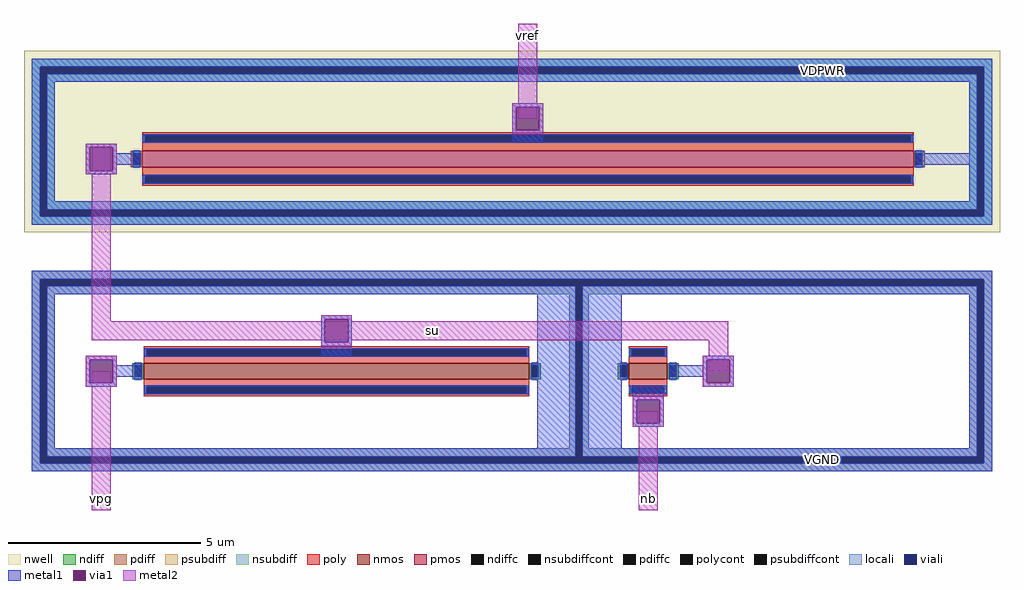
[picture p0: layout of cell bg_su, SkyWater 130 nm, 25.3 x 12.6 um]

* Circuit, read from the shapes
.subckt bg_su vpg nb vref su VDPWR VGND
XM1 VGND su vpg VGND sky130_fd_pr__nfet_01v8 w=0.42 l=10
XM2 su nb VGND VGND sky130_fd_pr__nfet_01v8 w=0.42 l=1
XM3 VDPWR vref su VDPWR sky130_fd_pr__pfet_01v8 w=0.42 l=20
.ends

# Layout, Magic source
magic
tech sky130A
magscale 1 2
<< metal1 >>
rect 4000 2020 4200 2140
rect 4000 0 4200 120
<< metal2 >>
rect 2522 1829 2622 2320
rect 310 779 410 1700
rect 310 679 3610 779
rect 3510 520 3610 679
rect 310 -200 410 520
rect 3146 -200 3246 311
use bg_su_arr  bg_su_arr_0
transform 1 0 0 0 1 0
box -40 0 5020 2180
<< labels >>
rlabel metal2 310 -200 410 -80 0 vpg
port 1 nsew
rlabel metal2 3146 -200 3246 -80 0 nb
port 2 nsew
rlabel metal2 2522 2200 2622 2320 0 vref
port 3 nsew
rlabel metal2 2000 679 2160 779 0 su
port 4 nsew
rlabel metal1 4020 2040 4180 2120 0 VDPWR
port 5 nsew
rlabel metal1 4020 20 4180 100 0 VGND
port 6 nsew
<< end >>

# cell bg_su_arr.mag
magic
tech sky130A
magscale 1 2
<< nwell >>
rect -40 1240 5020 2180
<< psubdiff >>
rect 0 997 4980 1040
rect 0 43 43 997
rect 77 920 2821 963
rect 77 120 120 920
rect 2788 120 2821 920
rect 77 77 2821 120
rect 2855 920 4903 963
rect 2855 120 2888 920
rect 4860 120 4903 920
rect 2855 77 4903 120
rect 4937 43 4980 997
rect 0 0 4980 43
<< nsubdiff >>
rect 0 2097 4980 2140
rect 0 1323 43 2097
rect 77 2020 4903 2063
rect 77 1400 120 2020
rect 4860 1400 4903 2020
rect 77 1357 4903 1400
rect 4937 1323 4980 2097
rect 0 1280 4980 1323
<< psubdiffcont >>
rect 43 963 4937 997
rect 43 77 77 963
rect 2821 77 2855 963
rect 4903 77 4937 963
rect 43 43 4937 77
<< nsubdiffcont >>
rect 43 2063 4937 2097
rect 43 1357 77 2063
rect 4903 1357 4937 2063
rect 43 1323 4937 1357
<< locali >>
rect 0 2097 4980 2140
rect 0 1323 43 2097
rect 77 2020 4903 2063
rect 77 1400 120 2020
rect 4860 1400 4903 2020
rect 77 1357 4903 1400
rect 4937 1323 4980 2097
rect 0 1280 4980 1323
rect 0 997 4980 1040
rect 0 43 43 997
rect 77 920 2821 963
rect 77 120 120 920
rect 2788 120 2821 920
rect 77 77 2821 120
rect 2855 920 4903 963
rect 2855 120 2888 920
rect 4860 120 4903 920
rect 2855 77 4903 120
rect 4937 43 4980 997
rect 0 0 4980 43
<< viali >>
rect 43 2063 4937 2097
rect 43 1357 77 2063
rect 4903 1357 4937 2063
rect 43 1323 4937 1357
rect 43 963 4937 997
rect 43 77 77 963
rect 2821 77 2855 963
rect 4903 77 4937 963
rect 43 43 4937 77
<< metal1 >>
rect 0 2097 4980 2140
rect 0 1323 43 2097
rect 77 2020 4903 2063
rect 77 1400 120 2020
rect 2492 1889 2652 1909
rect 2492 1769 2512 1889
rect 2632 1769 2652 1889
rect 2492 1703 2652 1769
rect 280 1680 440 1700
rect 280 1560 300 1680
rect 420 1650 440 1680
rect 4860 1650 4903 2020
rect 420 1590 566 1650
rect 4578 1590 4903 1650
rect 420 1560 440 1590
rect 280 1540 440 1560
rect 4860 1400 4903 1590
rect 77 1357 4903 1400
rect 4937 1323 4980 2097
rect 0 1280 4980 1323
rect 0 997 4980 1040
rect 0 43 43 997
rect 77 920 2821 963
rect 77 120 120 920
rect 1500 789 1660 809
rect 1500 669 1520 789
rect 1640 669 1660 789
rect 1500 603 1660 669
rect 280 580 440 600
rect 280 460 300 580
rect 420 550 440 580
rect 420 490 574 550
rect 420 460 440 490
rect 280 440 440 460
rect 2620 120 2821 920
rect 77 77 2821 120
rect 2855 920 4903 963
rect 2855 120 3060 920
rect 3480 580 3640 600
rect 3480 550 3500 580
rect 3302 490 3500 550
rect 3480 460 3500 490
rect 3620 460 3640 580
rect 3480 440 3640 460
rect 3116 371 3276 437
rect 3116 251 3136 371
rect 3256 251 3276 371
rect 3116 231 3276 251
rect 4860 120 4903 920
rect 2855 77 4903 120
rect 4937 43 4980 997
rect 0 0 4980 43
<< via1 >>
rect 2512 1769 2632 1889
rect 300 1560 420 1680
rect 1520 669 1640 789
rect 300 460 420 580
rect 3500 460 3620 580
rect 3136 251 3256 371
<< metal2 >>
rect 2492 1889 2652 1909
rect 2492 1769 2512 1889
rect 2632 1769 2652 1889
rect 2492 1749 2652 1769
rect 280 1680 440 1700
rect 280 1560 300 1680
rect 420 1560 440 1680
rect 280 1540 440 1560
rect 1500 789 1660 809
rect 1500 669 1520 789
rect 1640 669 1660 789
rect 1500 649 1660 669
rect 280 580 440 600
rect 280 460 300 580
rect 420 460 440 580
rect 280 440 440 460
rect 3480 580 3640 600
rect 3480 460 3500 580
rect 3620 460 3640 580
rect 3480 440 3640 460
rect 3116 371 3276 391
rect 3116 251 3136 371
rect 3256 251 3276 371
rect 3116 231 3276 251
use sky130_fd_pr__pfet_01v8_5QHMTN  MSU1
transform 1 0 2572 0 1 1620
box -2094 -142 2094 142
use sky130_fd_pr__nfet_01v8_8KCPDG  MSU2
transform 1 0 1580 0 1 520
box -1058 -130 1058 130
use sky130_fd_pr__nfet_01v8_RSB7T4  MSU3
transform -1 0 3196 0 1 520
box -158 -130 158 130
<< end >>

# cell sky130_fd_pr__pfet_01v8_5QHMTN: kit device sky130_fd_pr__pfet_01v8, w 0.42 l 20 m 1 nf 1 diffcov 100 polycov 100 guard 0 glc 1 grc 1 gtc 1 gbc 1 tbcov 100 rlcov 100 topc 1 botc 1 poverlap 0 doverlap 1 lmin 0.15 wmin 0.42 class mosfet compatible {sky130_fd_pr__pfet_01v8 sky130_fd_pr__pfet_01v8_lvt sky130_fd_pr__pfet_01v8_hvt sky130_fd_pr__pfet_g5v0d10v5} full_metal 1 conn_gates 0 viasrc 100 viadrn 100 viagate 100 viagb 0 viagr 0 viagl 0 viagt 0 doports 1

# cell sky130_fd_pr__nfet_01v8_8KCPDG: kit device sky130_fd_pr__nfet_01v8, w 0.42 l 10 m 1 nf 1 diffcov 100 polycov 100 guard 0 glc 1 grc 1 gtc 1 gbc 1 tbcov 100 rlcov 100 topc 1 botc 1 poverlap 0 doverlap 1 lmin 0.15 wmin 0.42 class mosfet compatible {sky130_fd_pr__nfet_01v8 sky130_fd_pr__nfet_01v8_lvt sky130_fd_bs_flash__special_sonosfet_star sky130_fd_pr__nfet_g5v0d10v5 sky130_fd_pr__nfet_05v0_nvt sky130_fd_pr__nfet_03v3_nvt} full_metal 1 conn_gates 0 viasrc 100 viadrn 100 viagate 100 viagb 0 viagr 0 viagl 0 viagt 0 doports 1

# cell sky130_fd_pr__nfet_01v8_RSB7T4: kit device sky130_fd_pr__nfet_01v8, w 0.42 l 1 m 1 nf 1 diffcov 100 polycov 100 guard 0 glc 1 grc 1 gtc 1 gbc 1 tbcov 100 rlcov 100 topc 1 botc 1 poverlap 0 doverlap 1 lmin 0.15 wmin 0.42 class mosfet compatible {sky130_fd_pr__nfet_01v8 sky130_fd_pr__nfet_01v8_lvt sky130_fd_bs_flash__special_sonosfet_star sky130_fd_pr__nfet_g5v0d10v5 sky130_fd_pr__nfet_05v0_nvt sky130_fd_pr__nfet_03v3_nvt} full_metal 1 conn_gates 0 viasrc 100 viadrn 100 viagate 100 viagb 0 viagr 0 viagl 0 viagt 0 doports 1
